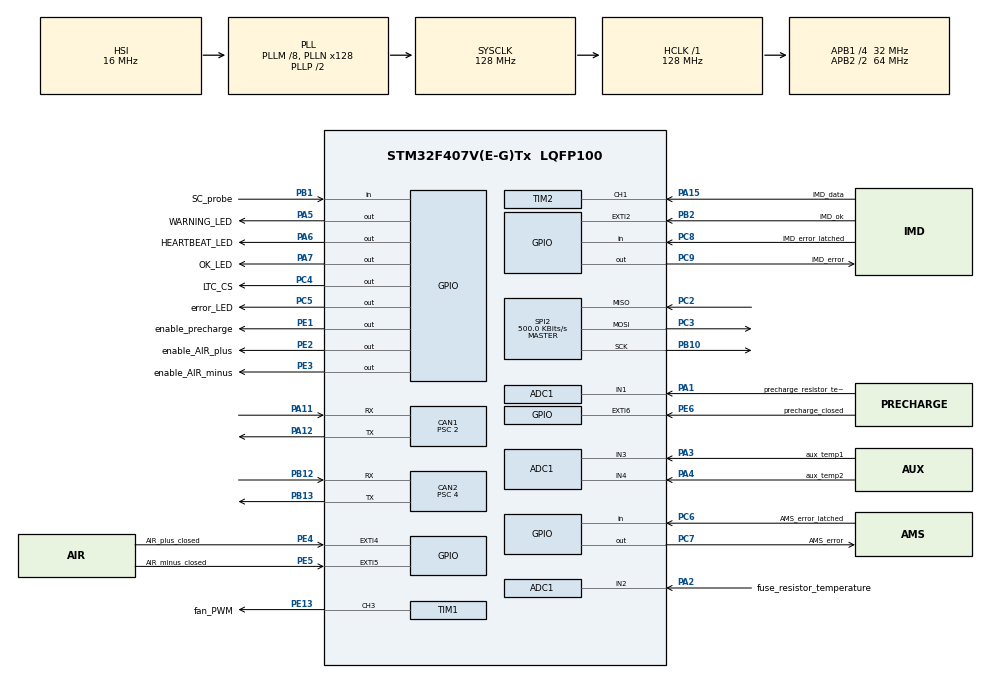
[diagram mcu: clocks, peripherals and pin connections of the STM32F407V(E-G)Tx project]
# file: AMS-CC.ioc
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ADC1.Channel-0\#ChannelRegularConversion=ADC_CHANNEL_1
ADC1.Channel-5\#ChannelRegularConversion=ADC_CHANNEL_2
ADC1.Channel-6\#ChannelRegularConversion=ADC_CHANNEL_3
ADC1.Channel-7\#ChannelRegularConversion=ADC_CHANNEL_4
ADC1.ContinuousConvMode=DISABLE
ADC1.DMAContinuousRequests=ENABLE
ADC1.DiscontinuousConvMode=DISABLE
ADC1.EOCSelection=ADC_EOC_SINGLE_CONV
ADC1.ExternalTrigConv=ADC_EXTERNALTRIGCONV_T3_TRGO
ADC1.NbrOfConversion=4
ADC1.NbrOfConversionFlag=1
ADC1.Rank-5\#ChannelRegularConversion=2
ADC1.Rank-6\#ChannelRegularConversion=3
ADC1.Rank-7\#ChannelRegularConversion=4
ADC1.SamplingTime-0\#ChannelRegularConversion=ADC_SAMPLETIME_28CYCLES
ADC1.SamplingTime-5\#ChannelRegularConversion=ADC_SAMPLETIME_28CYCLES
ADC1.SamplingTime-6\#ChannelRegularConversion=ADC_SAMPLETIME_28CYCLES
ADC1.SamplingTime-7\#ChannelRegularConversion=ADC_SAMPLETIME_28CYCLES
ADC1.master=1
CAN1.BS1=CAN_BS1_13TQ
CAN1.BS2=CAN_BS2_2TQ
CAN1.CalculateBaudRate=1000000
CAN1.CalculateTimeBit=1000
CAN1.CalculateTimeQuantum=62.5
CAN1.Mode=CAN_MODE_NORMAL
CAN1.Prescaler=2
CAN2.BS1=CAN_BS1_13TQ
CAN2.BS2=CAN_BS2_2TQ
CAN2.CalculateBaudRate=500000
CAN2.CalculateTimeBit=2000
CAN2.CalculateTimeQuantum=125.0
CAN2.Mode=CAN_MODE_NORMAL
CAN2.Prescaler=4
Dma.ADC1.0.Direction=DMA_PERIPH_TO_MEMORY
Dma.ADC1.0.FIFOMode=DMA_FIFOMODE_DISABLE
Dma.ADC1.0.Instance=DMA2_Stream0
Dma.ADC1.0.MemDataAlignment=DMA_MDATAALIGN_HALFWORD
Dma.ADC1.0.MemInc=DMA_MINC_ENABLE
Dma.ADC1.0.Mode=DMA_CIRCULAR
Dma.ADC1.0.PeriphDataAlignment=DMA_PDATAALIGN_HALFWORD
Dma.ADC1.0.PeriphInc=DMA_PINC_DISABLE
Dma.ADC1.0.Priority=DMA_PRIORITY_HIGH
Dma.Request0=ADC1
FREERTOS.Tasks01=standard,24,128,start_standard_task,Default,NULL,Dynamic,NULL,NULL
FREERTOS.configENABLE_FPU=1
FREERTOS.configMAX_TASK_NAME_LEN=32
FREERTOS.configMINIMAL_STACK_SIZE=128
FREERTOS.configTOTAL_HEAP_SIZE=100000
FREERTOS.configUSE_NEWLIB_REENTRANT=1
IWDG.Prescaler=IWDG_PRESCALER_8
IWDG.Reload=399
Mcu.Family=STM32F4
Mcu.Name=STM32F407V(E-G)Tx
Mcu.Package=LQFP100
NVIC.ADC_IRQn=true\:5\:0\:false\:false\:true\:true\:true\:true
NVIC.CAN1_RX0_IRQn=true\:5\:0\:false\:false\:true\:true\:true\:true
NVIC.CAN1_RX1_IRQn=true\:5\:0\:false\:false\:true\:true\:true\:true
NVIC.CAN1_TX_IRQn=true\:5\:0\:false\:false\:true\:true\:true\:true
NVIC.CAN2_RX0_IRQn=true\:5\:0\:false\:false\:true\:true\:true\:true
NVIC.CAN2_RX1_IRQn=true\:5\:0\:false\:false\:true\:true\:true\:true
NVIC.CAN2_TX_IRQn=true\:5\:0\:false\:false\:true\:true\:true\:true
NVIC.DMA2_Stream0_IRQn=true\:5\:0\:false\:false\:true\:true\:false\:true
NVIC.EXTI4_IRQn=true\:5\:0\:false\:false\:true\:true\:true\:true
NVIC.EXTI9_5_IRQn=true\:5\:0\:false\:false\:true\:true\:true\:true
NVIC.PriorityGroup=NVIC_PRIORITYGROUP_4
NVIC.TIM2_IRQn=true\:5\:0\:false\:false\:true\:true\:true\:true
NVIC.TIM3_IRQn=true\:5\:0\:false\:false\:true\:true\:true\:true
NVIC.TIM5_IRQn=true\:15\:0\:false\:false\:true\:false\:false\:true
NVIC.TimeBase=TIM5_IRQn
NVIC.TimeBaseIP=TIM5
PA1.GPIO_Label=precharge_resistor_temperature
PA1.GPIO_Mode=GPIO_MODE_ANALOG
PA1.GPIO_PuPd=GPIO_NOPULL
PA1.Signal=ADCx_IN1
PA11.Mode=CAN_Activate
PA11.Signal=CAN1_RX
PA12.Mode=CAN_Activate
PA12.Signal=CAN1_TX
PA15.GPIO_Label=IMD_data
PA15.Signal=S_TIM2_CH1_ETR
PA2.GPIO_Label=fuse_resistor_temperature
PA2.GPIO_Mode=GPIO_MODE_ANALOG
PA2.GPIO_PuPd=GPIO_NOPULL
PA2.Signal=ADCx_IN2
PA3.GPIO_Label=aux_temp1
PA3.GPIO_Mode=GPIO_MODE_ANALOG
PA3.GPIO_PuPd=GPIO_NOPULL
PA3.Signal=ADCx_IN3
PA4.GPIO_Label=aux_temp2
PA4.GPIO_Mode=GPIO_MODE_ANALOG
PA4.GPIO_PuPd=GPIO_NOPULL
PA4.Signal=ADCx_IN4
PA5.GPIO_Label=WARNING_LED
PA5.Signal=GPIO_Output
PA6.GPIO_Label=HEARTBEAT_LED
PA6.Signal=GPIO_Output
PA7.GPIO_Label=OK_LED
PA7.Signal=GPIO_Output
PB1.GPIO_Label=SC_probe
PB1.Signal=GPIO_Input
PB10.Mode=Full_Duplex_Master
PB10.Signal=SPI2_SCK
PB12.Mode=CAN_Activate
PB12.Signal=CAN2_RX
PB13.Mode=CAN_Activate
PB13.Signal=CAN2_TX
PB2.GPIO_Label=IMD_ok
PB2.GPIO_ModeDefaultEXTI=GPIO_MODE_IT_FALLING
PB2.Signal=GPXTI2
PC2.Mode=Full_Duplex_Master
PC2.Signal=SPI2_MISO
PC3.Mode=Full_Duplex_Master
PC3.Signal=SPI2_MOSI
PC4.GPIO_Label=LTC_CS
PC4.Signal=GPIO_Output
PC5.GPIO_Label=error_LED
PC5.Signal=GPIO_Output
PC6.GPIO_Label=AMS_error_latched
PC6.Signal=GPIO_Input
PC7.GPIO_Label=AMS_error
PC7.Signal=GPIO_Output
PC8.GPIO_Label=IMD_error_latched
PC8.Signal=GPIO_Input
PC9.GPIO_Label=IMD_error
PC9.Signal=GPIO_Output
PE1.GPIO_Label=enable_precharge
PE1.Signal=GPIO_Output
PE13.GPIO_Label=fan_PWM
PE13.Signal=S_TIM1_CH3
PE2.GPIO_Label=enable_AIR_plus
PE2.Signal=GPIO_Output
PE3.GPIO_Label=enable_AIR_minus
PE3.Signal=GPIO_Output
PE4.GPIO_Label=AIR_plus_closed
PE4.GPIO_ModeDefaultEXTI=GPIO_MODE_IT_RISING_FALLING
PE4.Signal=GPXTI4
PE5.GPIO_Label=AIR_minus_closed
PE5.GPIO_ModeDefaultEXTI=GPIO_MODE_IT_RISING_FALLING
PE5.Signal=GPXTI5
PE6.GPIO_Label=precharge_closed
PE6.GPIO_ModeDefaultEXTI=GPIO_MODE_IT_RISING_FALLING
PE6.Signal=GPXTI6
ProjectManager.HeapSize=0x200
ProjectManager.StackSize=0x400
ProjectManager.TargetToolchain=STM32CubeIDE
RCC.48MHZClocksFreq_Value=64000000
RCC.AHBFreq_Value=128000000
RCC.APB1CLKDivider=RCC_HCLK_DIV4
RCC.APB1Freq_Value=32000000
RCC.APB1TimFreq_Value=64000000
RCC.APB2CLKDivider=RCC_HCLK_DIV2
RCC.APB2Freq_Value=64000000
RCC.APB2TimFreq_Value=128000000
RCC.CortexFreq_Value=128000000
RCC.HCLKFreq_Value=128000000
RCC.HSE_VALUE=25000000
RCC.HSI_VALUE=16000000
RCC.LSE_VALUE=32768
RCC.PLLM=8
RCC.PLLN=128
RCC.SYSCLKFreq_VALUE=128000000
RCC.SYSCLKSource=RCC_SYSCLKSOURCE_PLLCLK
RCC.VCOOutputFreq_Value=256000000
SH.ADCx_IN1.0=ADC1_IN1,IN1
SH.ADCx_IN2.0=ADC1_IN2,IN2
SH.ADCx_IN3.0=ADC1_IN3,IN3
SH.ADCx_IN4.0=ADC1_IN4,IN4
SH.S_TIM1_CH3.0=TIM1_CH3,PWM Generation3 CH3
SH.S_TIM2_CH1_ETR.0=TIM2_CH1,PWM_Input_1
SPI2.BaudRatePrescaler=SPI_BAUDRATEPRESCALER_64
SPI2.CRCCalculation=SPI_CRCCALCULATION_DISABLE
SPI2.CalculateBaudRate=500.0 KBits/s
SPI2.Direction=SPI_DIRECTION_2LINES
SPI2.Mode=SPI_MODE_MASTER
SPI2.VirtualType=VM_MASTER
STMicroelectronics.X-CUBE-ALGOBUILD.1.3.0.LibraryCcDSPOoLibraryJjDSPOoLibrary=true
TIM1.Channel-PWM\ Generation3\ CH3=TIM_CHANNEL_3
TIM2.TIM_MasterOutputTrigger=TIM_TRGO_RESET
TIM3.TIM_MasterOutputTrigger=TIM_TRGO_UPDATE
VP_FREERTOS_VS_CMSIS_V2.Mode=CMSIS_V2
VP_IWDG_VS_IWDG.Mode=IWDG_Activate
VP_STMicroelectronics.X-CUBE-ALGOBUILD_VS_DSPOoLibraryJjLibrary_1.3.0_1.3.0.Mode=DSPOoLibraryJjLibrary
VP_SYS_VS_tim5.Mode=TIM5
VP_TIM1_VS_ClockSourceINT.Mode=Internal
VP_TIM2_VS_ClockSourceINT.Mode=Internal
VP_TIM3_VS_ClockSourceINT.Mode=Internal
board=custom

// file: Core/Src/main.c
/* USER CODE BEGIN Header */
/**
 ******************************************************************************
 * @file           : main.c
 * @brief          : Main program body
 ******************************************************************************
 * @attention
 *
 * Copyright (c) 2022 STMicroelectronics.
 * All rights reserved.
 *
 * This software is licensed under terms that can be found in the LICENSE file
 * in the root directory of this software component.
 * If no LICENSE file comes with this software, it is provided AS-IS.
 *
 ******************************************************************************
 */
/* USER CODE END Header */
#include "main.h"
#include "cmsis_os.h"
#include "adc.h"
#include "can.h"
#include "dma.h"
#include "iwdg.h"
#include "spi.h"
#include "tim.h"
#include "gpio.h"

/* USER CODE BEGIN Includes */
#include "queue.h"
#include "stdlib.h"

#include "SEGGER_SYSVIEW.h"

#include "programme_tasks.h"
#include "programme_queues.h"
#include "programme_data.h"
#include "programme_functions.h"

#include "COM.h"
#include "PID.h"
#include "FAN.h"
#include "IMD.h"
#include "CSE.h"
#include "LTC.h"
#include "queue.h"
#include "SIM0.h"
#include "smile_data.h"
#include "smile_callbacks.h"
#include "smile.h"
#include "canlib_data.h"
#include "canlib_callbacks.h"
#include "canlib.h"

#define ARM_MATH_CM4
#include "arm_math.h"
/* USER CODE END Includes */

void SystemClock_Config(void);
void MX_FREERTOS_Init(void);

/* USER CODE BEGIN 0 */

const task_info SM_task_info = { { .name = "SM_task", .stack_size = 1024 * 4,
		.priority = (osPriority_t) osPriorityBelowNormal, }, .periodicity = 0.1,
		.offset = 0 * 0.000, .execution_time = 0.010, };

const task_info COOL_task_info = { { .name = "COOL_task", .stack_size = 160 * 4,
		.priority = (osPriority_t) osPriorityNormal5, }, .periodicity = 0.1,
		.offset = 0 * 0.220, .execution_time = 0.001, };

const task_info CSE_task_info = { { .name = "CSE_task", .stack_size = 1024 * 4,
		.priority = (osPriority_t) osPriorityNormal4, }, .periodicity = 0.1,
		.offset = 0 * 0.170, .execution_time = 0.035, };

const task_info CAN_task_info = { { .name = "CAN_task", .stack_size = 512 * 4,
		.priority = (osPriority_t) osPriorityNormal3, }, .periodicity = 0.1,
		.offset = 0 * 0.140, .execution_time = 0.020, };

const task_info COM_task_info = { { .name = "COM_task", .stack_size = 2048 * 4,
		.priority = (osPriority_t) osPriorityNormal2, }, .periodicity = 0.1,
		.offset = 0 * 0.060, .execution_time = 0.040, };

const task_info SIM_task_info = { { .name = "SIM_task", .stack_size = 3000 * 4,
		.priority = (osPriority_t) osPriorityNormal1, }, .periodicity = 0.1,
		.offset = 0 * 0.230, .execution_time = 0.1, };

const task_info error_handler_task_info = { { .name = "error_handler_task",
		.stack_size = 128 * 4, .priority = (osPriority_t) osPriorityLow1, },
		.periodicity = 0.1, .offset = 5, .execution_time = 0.001, };

const task_info IWDG_task_info = { { .name = "IWDG_task", .stack_size = 160 * 4,
		.priority = (osPriority_t) osPriorityLow, }, .periodicity = 0.1,
		.offset = 0 * 0.010, .execution_time = 0.001, };

const queue_info IMD_queue_info = { .element_count = 1, .element_size =
		sizeof(IMD_t), };

const queue_info temperatures_queue_info = { .element_count = 1, .element_size =
		sizeof(temperatures_t), };

const queue_info charger_queue_info = { .element_count = 1, .element_size =
		sizeof(charger_t), };

const queue_info accumulator_current_queue_info = { .element_count = 1,
		.element_size = sizeof(double), };

const queue_info accumulator_voltage_queue_info = { .element_count = 1,
		.element_size = sizeof(double), };

const queue_info vehicle_voltage_queue_info = { .element_count = 1,
		.element_size = sizeof(double), };

const queue_info cell_voltages_queue_info = { .element_count = 1,
		.element_size = sizeof(double*), };

const queue_info cell_temperatures_queue_info = { .element_count = 1,
		.element_size = sizeof(double*), };

const queue_info start_drive_queue_info = { .element_count = 1, .element_size =
		sizeof(uint8_t), };

const queue_info start_charge_queue_info = { .element_count = 1, .element_size =
		sizeof(uint8_t), };

const queue_info start_balance_queue_info = { .element_count = 1,
		.element_size = sizeof(uint8_t), };

const queue_info state_queue_info = { .element_count = 1, .element_size =
		sizeof(ams_state_t), };

const queue_info error_queue_info = { .element_count = 1, .element_size =
		sizeof(error_t), };

int main() {
	/* INSTRUMENTATE */
	SEGGER_SYSVIEW_Conf();

	/* RESET PERIPHERALS, ETC. */
	HAL_Init();

	/* CONFIGURE SYSTEM CLOCK */
	SystemClock_Config();

	/* INITIALZE PERIPHERALS */
	MX_GPIO_Init();
	MX_SPI2_Init();
	MX_CAN1_Init();
	MX_CAN2_Init();
	MX_TIM1_Init();
	MX_DMA_Init();
	MX_ADC1_Init();
	MX_TIM3_Init();
	MX_TIM2_Init();

	initialize_CAN(&hcan1, &hcan2);
	initialize_LTC(&hspi2);

	/* Initialize kernel */
	osKernelInitialize();

	/* INITIALIZE QUEUES */

	temperatures_queue = xQueueCreate(temperatures_queue_info.element_count,
			temperatures_queue_info.element_size);

	accumulator_voltage_queue = xQueueCreate(
			accumulator_voltage_queue_info.element_count,
			accumulator_voltage_queue_info.element_size);

	vehicle_voltage_queue = xQueueCreate(
			vehicle_voltage_queue_info.element_count,
			vehicle_voltage_queue_info.element_size);

	accumulator_current_queue = xQueueCreate(
			accumulator_current_queue_info.element_count,
			accumulator_current_queue_info.element_size);

	cell_voltages_queue = xQueueCreate(cell_voltages_queue_info.element_count,
			cell_voltages_queue_info.element_size);

	cell_temperatures_queue = xQueueCreate(
			cell_temperatures_queue_info.element_count,
			cell_temperatures_queue_info.element_size);

	start_drive_queue = xQueueCreate(start_drive_queue_info.element_count,
			start_drive_queue_info.element_size);

	start_charge_queue = xQueueCreate(start_charge_queue_info.element_count,
			start_charge_queue_info.element_size);

	start_balance_queue = xQueueCreate(start_balance_queue_info.element_count,
			start_balance_queue_info.element_size);

	state_queue = xQueueCreate(state_queue_info.element_count,
			state_queue_info.element_size);

	error_queue = xQueueCreate(error_queue_info.element_count,
			error_queue_info.element_size);

	/* INITIALIZE TASKS */

	first_tick = 0.25 * TICK2HZ + osKernelGetTickCount(); // Wait for segger, etc

	SM_task_handle = osThreadNew(start_SM_task, NULL, &SM_task_info.attributes);

#ifdef SIMULATION
	SIM_task_handle = osThreadNew(start_SIM_task, NULL,
			&SIM_task_info.attributes);
#endif

	CSE_task_handle = osThreadNew(start_CSE_task, NULL,
			&CSE_task_info.attributes);

	COOL_task_handle = osThreadNew(start_COOL_task, NULL,
			&COOL_task_info.attributes);

	CAN_task_handle = osThreadNew(start_CAN_task, NULL,
			&CAN_task_info.attributes);

	COM_task_handle = osThreadNew(start_COM_task, NULL,
			&COM_task_info.attributes);

	IWDG_task_handle = osThreadNew(start_IWDG_task, NULL,
			&IWDG_task_info.attributes);

	error_handler_task_handle = osThreadNew(start_error_handler_task, NULL,
			&error_handler_task_info.attributes);

	/* Launch RTOS ! */
	osKernelStart();

	for (;;)
		;
}

/* USER CODE END 0 */

void SystemClock_Config(void) {
	RCC_OscInitTypeDef RCC_OscInitStruct = { 0 };
	RCC_ClkInitTypeDef RCC_ClkInitStruct = { 0 };

	/** Configure the main internal regulator output voltage
	 */
	__HAL_RCC_PWR_CLK_ENABLE();
	__HAL_PWR_VOLTAGESCALING_CONFIG(PWR_REGULATOR_VOLTAGE_SCALE1);
	/** Initializes the RCC Oscillators according to the specified parameters
	 * in the RCC_OscInitTypeDef structure.
	 */
	RCC_OscInitStruct.OscillatorType = RCC_OSCILLATORTYPE_HSI
			| RCC_OSCILLATORTYPE_LSI;
	RCC_OscInitStruct.HSIState = RCC_HSI_ON;
	RCC_OscInitStruct.HSICalibrationValue = RCC_HSICALIBRATION_DEFAULT;
	RCC_OscInitStruct.LSIState = RCC_LSI_ON;
	RCC_OscInitStruct.PLL.PLLState = RCC_PLL_ON;
	RCC_OscInitStruct.PLL.PLLSource = RCC_PLLSOURCE_HSI;
	RCC_OscInitStruct.PLL.PLLM = 8;
	RCC_OscInitStruct.PLL.PLLN = 128;
	RCC_OscInitStruct.PLL.PLLP = RCC_PLLP_DIV2;
	RCC_OscInitStruct.PLL.PLLQ = 4;
	if (HAL_RCC_OscConfig(&RCC_OscInitStruct) != HAL_OK) {
		Error_Handler();
	}
	/** Initializes the CPU, AHB and APB buses clocks
	 */
	RCC_ClkInitStruct.ClockType = RCC_CLOCKTYPE_HCLK | RCC_CLOCKTYPE_SYSCLK
			| RCC_CLOCKTYPE_PCLK1 | RCC_CLOCKTYPE_PCLK2;
	RCC_ClkInitStruct.SYSCLKSource = RCC_SYSCLKSOURCE_PLLCLK;
	RCC_ClkInitStruct.AHBCLKDivider = RCC_SYSCLK_DIV1;
	RCC_ClkInitStruct.APB1CLKDivider = RCC_HCLK_DIV4;
	RCC_ClkInitStruct.APB2CLKDivider = RCC_HCLK_DIV2;

	if (HAL_RCC_ClockConfig(&RCC_ClkInitStruct, FLASH_LATENCY_4) != HAL_OK) {
		Error_Handler();
	}
}

/* USER CODE BEGIN 4 */

#define WAIT_FOR_CELL_VOLTAGES			0x0001
#define WAIT_FOR_CELL_TEMPERATURES		0x0002
#define WAIT_FOR_ACCUMULATOR_VOLTAGE	0x0004
#define WAIT_FOR_ACCUMULATOR_CURRENT	0x0008
#define WAIT_FOR_VEHICLE_VOLTAGE		0x0010
#define WAIT_FOR_ALL 					0x001F

void __wait_for_data(uint16_t FLAGS) {
	uint8_t NOT_OK = FLAGS;

	double _d;
	double *_dptr;
	uint8_t _u8;
	while (NOT_OK) {
		osDelay(2.00 * TICK2HZ);
		if (FLAGS & WAIT_FOR_CELL_VOLTAGES) {
			if (xQueuePeek(cell_voltages_queue, &_dptr, 0)) {
				NOT_OK &= ~WAIT_FOR_CELL_VOLTAGES;
			}
		}
		if (FLAGS & WAIT_FOR_CELL_TEMPERATURES) {
			if (xQueuePeek(cell_temperatures_queue, &_dptr, 0)) {
				NOT_OK &= ~WAIT_FOR_CELL_TEMPERATURES;
			}
		}
		if (FLAGS & WAIT_FOR_ACCUMULATOR_CURRENT) {
			if (xQueuePeek(accumulator_current_queue, &_d, 0)) {
				NOT_OK &= ~WAIT_FOR_ACCUMULATOR_CURRENT;
			}
		}
		if (FLAGS & WAIT_FOR_ACCUMULATOR_VOLTAGE) {
			if (xQueuePeek(accumulator_voltage_queue, &_d, 0)) {
				NOT_OK &= ~WAIT_FOR_ACCUMULATOR_VOLTAGE;
			}
		}
		if (FLAGS & WAIT_FOR_VEHICLE_VOLTAGE) {
			if (xQueuePeek(vehicle_voltage_queue, &_d, 0)) {
				NOT_OK &= ~WAIT_FOR_VEHICLE_VOLTAGE;
			}
		}
	}
}

void __raise_ams_error(error_t error) {
	set_ams_error_ext(1);
	__error = error;
#ifdef STREAM_DATA
	SEGGER_SYSVIEW_PrintfHost("error %i", error);
#endif
	xQueueOverwrite(error_queue, &error);
}

void __raise_ams_error_isr(error_t error) {
	set_ams_error_ext(1);
	__error = error;
#ifdef STREAM_DATA
	SEGGER_SYSVIEW_PrintfHost("error %i", error);
#endif

	BaseType_t xHigherPriorityTaskWoken = pdFALSE;
	xQueueOverwriteFromISR(error_queue, &error,
			&xHigherPriorityTaskWoken);
	portEND_SWITCHING_ISR(xHigherPriorityTaskWoken);
}

void __raise_imd_error(error_t error) {
	set_imd_error_ext(1);
	__error = error;
#ifdef STREAM_DATA
	SEGGER_SYSVIEW_PrintfHost("error %i", error);
#endif
	xQueueOverwrite(error_queue, &error);
}

void __raise_imd_error_isr(error_t error) {
	set_imd_error_ext(1);
	__error = error;
#ifdef STREAM_DATA
	SEGGER_SYSVIEW_PrintfHost("error %i", error);
#endif

	BaseType_t xHigherPriorityTaskWoken = pdFALSE;
	xQueueOverwriteFromISR(error_queue, &error,
			&xHigherPriorityTaskWoken);
	portEND_SWITCHING_ISR(xHigherPriorityTaskWoken);
}

/* ENTER TASKS */
void start_SM_task(void *argument) {
	SEGGER_SYSVIEW_Start();

	/* Set up task-specific timing parameters */
	uint32_t next_tick = first_tick;
	uint32_t tick_increment = TICK2HZ * SM_task_info.periodicity;

	/* Make task-specific structures */
	ams_inputs.Ts = SM_task_info.periodicity;
	double *cell_voltages;
	double minimum;
	double mean;
	double variance;
	double maximum;

	initialize_TEM(&htim3); // This has to be inside a task
	initialize_IMD(&htim2); // This has to be inside a task

	/* Wait until offset */
	next_tick += TICK2HZ * SM_task_info.offset;
	osDelayUntil(next_tick);

	__wait_for_data(WAIT_FOR_ALL);

	for (;;) {
		/* Enter periodic behaviour */
		/* Receive every piece of data which is required to propagate the state machine */
		if (0x1 && xQueuePeek(cell_voltages_queue, &cell_voltages, 0)
				&& xQueuePeek(accumulator_current_queue,
						&ams_inputs.accumulator_current, 0)
				&& xQueuePeek(accumulator_voltage_queue,
						&ams_inputs.accumulator_voltage, 0)
				&& xQueuePeek(vehicle_voltage_queue,
						&ams_inputs.vehicle_voltage, 0)) {

			/* Calculate mean, maximum and variance of cell voltages */
			{
				mean = 0;
				variance = 0;
				maximum = cell_voltages[0];
				minimum = cell_voltages[0];
				for (int i = 0; i < 126; i++) {
					mean += cell_voltages[i];
					if (cell_voltages[i] > maximum) {
						maximum = cell_voltages[i];
					}
					if (cell_voltages[i] < minimum) {
						minimum = cell_voltages[i];
					}
				}
				mean /= 126;
				for (int i = 0; i < 126; i++) {
					double svar = cell_voltages[i] - mean;
					variance += svar * svar;
				}
			}

			/* Set the rest of the state machine inputs */
			ams_inputs.cell_voltages_variance = variance;
			ams_inputs.maximum_cell_voltage = maximum;
			ams_inputs.minimum_cell_voltage = minimum;
			ams_inputs.charger_is_awake = 1;
			ams_inputs.ams_error = get_ams_error_latched_ext();
			ams_inputs.imd_error = get_imd_error_latched_ext();
			ams_inputs.air_minus_closed = get_air_minus_ext();
			ams_inputs.air_plus_closed = get_air_plus_ext();
			ams_inputs.precharge_closed = get_precharge_ext();
			ams_inputs.SC = get_sc_probe_ext();

			/* Try to get the trigger signals */
			xQueueReceive(start_drive_queue, &ams_inputs.drive, 0);
			xQueueReceive(start_charge_queue, &ams_inputs.charge, 0);
			xQueueReceive(start_balance_queue, &ams_inputs.balance, 0);

			ams_state_t state = ams_function(); // _step

#ifdef STREAM_DATA
			SEGGER_SYSVIEW_PrintfHost("state %i", state);
#endif
			xQueueOverwrite(state_queue, &state);
		} else {
			__raise_ams_error(ERROR_AMS);
		}

		/* If any error was produced by the state machine (1xx), then raise them */
		if (ams_outputs.error) {
			__raise_ams_error((error_t) ams_outputs.error);
		}

		charger.charger_current_limit = 6.6 * 2; 		// 2 * C
		charger.charger_voltage_limit = 4.15 * 126;	// sought cell voltage times count of cells
		charger.enable_charger = ams_outputs.enable_charger;

		set_air_minus_ext(ams_outputs.close_air_minus);
		set_air_plus_ext(ams_outputs.close_air_plus);
		set_precharge_ext(ams_outputs.close_precharge);

		/* Wait until next period */
		next_tick += tick_increment;
		osDelayUntil(next_tick);
	}
}

void start_COM_task(void *argument) {
	/* Set up task-specific timing parameters */
	uint32_t next_tick = first_tick;
	uint32_t tick_increment = TICK2HZ * COM_task_info.periodicity;

	/* Make task-specific structures */
	double *cell_voltages;
	double *cell_temperatures;
	double accumulator_current;
	error_t cell_voltages_error;
	error_t cell_temperatures_error;
	error_t accumulator_current_error;
	uint8_t cell_data_valid;
	uint8_t accumulator_current_valid;

#ifdef STREAM_DATA
	uint8_t __k = 0;
#endif

	const float voltage_time_constraint = 0.5;
	const float temperature_time_constraint = 1.0;
	const float current_time_constraint = 0.5;

	uint16_t voltage_sample_constraint = 1
			+ (voltage_time_constraint / COM_task_info.periodicity);

	uint16_t temperature_sample_constraint = 1
			+ (temperature_time_constraint / COM_task_info.periodicity);

	uint16_t current_sample_constraint = 1
			+ (current_time_constraint / COM_task_info.periodicity);

	/* Wait until offset */
	next_tick += TICK2HZ * COM_task_info.offset;
	osDelayUntil(next_tick);

	__wait_for_data(WAIT_FOR_ACCUMULATOR_CURRENT);

	for (;;) {
		/* Enter periodic behaviour */

		accumulator_current_valid = xQueuePeek(accumulator_current_queue,
				&accumulator_current, 0);

		/* Get new data over isoSPI */
		cell_data_valid = LTC_acquire_data(1);

		/* Get data from the program */
#ifdef SIMULATION
		cell_voltages = SIM0_Y.cell_voltages;
		cell_temperatures = SIM0_Y.cell_temperatures;
		cell_data_valid = 1;
#else
		cell_voltages = LTC_voltages;
		cell_temperatures = LTC_temperatures;
#endif

		/* If new cell data is available, supply the system with it */
		if (cell_data_valid) {
			xQueueOverwrite(cell_voltages_queue, &cell_voltages);
			xQueueOverwrite(cell_temperatures_queue, &cell_temperatures);
		} else {
			__raise_ams_error(ERROR_NO_LTC_DATA);
		}

		/* Raise an error if cell voltage time constraints are not met,
		 * or if there is no data being received */
		cell_voltages_error = COM_voltages_ok(cell_voltages,
				voltage_sample_constraint);

		if (cell_voltages_error) {
			__raise_ams_error(cell_voltages_error);
		}

		/* Raise an error if cell temperature time constraints are not met,
		 * or if there is no data being received */
		cell_temperatures_error = COM_temperatures_ok(cell_temperatures,
				!temperature_sample_constraint);

		if (cell_temperatures_error) {
			__raise_ams_error(cell_temperatures_error);
		}

		/* If no new accumulator current was gathered, raise an error */
		if (!accumulator_current_valid) {
			__raise_ams_error(ERROR_NO_CURRENT_DATA);
		}

		/* Raise an error if accumulator current time constraints are not met,
		 * or if there is no data being received */
		accumulator_current_error = COM_current_ok(&accumulator_current,
				current_sample_constraint);

		if (accumulator_current_error) {
			__raise_ams_error(accumulator_current_error);
		}

#ifdef STREAM_DATA
		SEGGER_SYSVIEW_PrintfHost("cell_voltages %i %i %i %i %i %i %i %i", __k,
				(uint16_t) (10000 * cell_voltages[__k]),
				(uint16_t) (10000 * cell_voltages[__k + 1]),
				(uint16_t) (10000 * cell_voltages[__k + 2]),
				(uint16_t) (10000 * cell_voltages[__k + 3]),
				(uint16_t) (10000 * cell_voltages[__k + 4]),
				(uint16_t) (10000 * cell_voltages[__k + 5]),
				(uint16_t) (10000 * cell_voltages[__k + 6]));
		__k = (__k + 7) % 126;
#endif

		/* Wait until next period */
		while (next_tick < osKernelGetTickCount()) {
			next_tick += tick_increment;
		}
		osDelayUntil(next_tick);
	}
}

void start_CAN_task(void *argument) {
	/* Set up task-specific timing parameters */
	uint32_t next_tick = first_tick;
	uint32_t tick_increment = TICK2HZ * CAN_task_info.periodicity;

	/* Make task-specific structures */
	uint32_t k = 0;

	/* Wait until offset */
	next_tick += TICK2HZ * CAN_task_info.offset;
	osDelayUntil(next_tick);

	for (;;) {
		/* Enter periodic behaviour */
		if (!(k % 2)) {
			can1_ams_status_1_transmit();
		}
		if (!(k % 2)) {
			can1_ams_temperatures_transmit();
		}
		if (!(k % 3)) {
			can2_charger_config_transmit();
		}
		if (!(k % 4)) {
			can1_ams_cell_temperatures_transmit();
			can1_ams_cell_voltages_transmit();
		}
		k++;
		/* Wait until next period */
		while (next_tick < osKernelGetTickCount()) {
			next_tick += tick_increment;
		}
		osDelayUntil(next_tick);
	}
}

void start_CSE_task(void *argument) {
	/* Set up task-specific timing parameters */
	uint32_t next_tick = first_tick;
	uint32_t tick_increment = TICK2HZ * CSE_task_info.periodicity;

	/* Make task-specific structures */
	CSE_initialize();
	double *cell_voltages;
	double accumulator_current;
	double mean_cell_voltage;

	/* Wait until offset */
	next_tick += TICK2HZ * CSE_task_info.offset;
	osDelayUntil(next_tick);

	__wait_for_data(WAIT_FOR_ALL);

	CSE_DW.x[1] = 0.40773275430377137 * 23840.700984295119;
	CSE_DW.x[2] = 23840.700984295119;

	for (;;) {
		/* Enter periodic behaviour */

		/* Collect cell voltages and accumulator current -- then calcualte SOC/SOH */
		if (xQueuePeek(accumulator_current_queue, &accumulator_current, 0)
				&& xQueuePeek(cell_voltages_queue, &cell_voltages, 0)) {
			/*
			 * Calculate the mean cell voltage -- if the periodicity is high enough
			 * one might calculate them all individually at some point (and/or do them interleaving)
			 */
			mean_cell_voltage = 0;
			for (int i = 0; i < 126; i++) {
				mean_cell_voltage += cell_voltages[i];
			}
			mean_cell_voltage /= 126;

			CSE_U.current = accumulator_current;
			CSE_U.y = mean_cell_voltage;
			CSE_step();

#ifdef STREAM_DATA
			int32_t int_soc = 1000 * CSE_Y.soc;
			int32_t int_cap = CSE_Y.capacity;
			SEGGER_SYSVIEW_PrintfHost("CSE %i %i", int_soc, int_cap);
#endif

		}

		/* Wait until next period */
		while (next_tick < osKernelGetTickCount()) {
			next_tick += tick_increment;
		}
		osDelayUntil(next_tick);
	}
}

void start_COOL_task(void *argument) {
	/* Set up task-specific timing parameters */
	uint32_t next_tick = first_tick;
	uint32_t tick_increment = TICK2HZ * COOL_task_info.periodicity;

	/* Make task-specific structures */
	PID_t PID;

	PID_initialize(&PID, // *ptr
			20,			// Reference temperature (sought)
			100 / 30, 	// Proportionate gain
			0,			// Integral gain
			0,			// Differential gain
			20,			// Lower PID output bound
			100			// Upper PID output bound
			);
	FAN_initialize(&htim1);

	double *cell_temperatures;
	double max_cell_temperature;

	/* Wait until offset */
	next_tick += TICK2HZ * COOL_task_info.offset;
	osDelayUntil(next_tick);

	__wait_for_data(WAIT_FOR_CELL_TEMPERATURES);

	for (;;) {
		/* Enter periodic behaviour */

		/* If the cell temperatures are received one may input them into the PID */
		if (xQueuePeek(cell_temperatures_queue, &cell_temperatures, 0)) {
			/* Calculate the maximum cell temperature */
			max_cell_temperature = 0;
			for (int i = 0; i < 126; i++) {
				max_cell_temperature += cell_temperatures[i];
			}
			max_cell_temperature /= 126;

			/* Progress the PID and set the fan duty cycle accordingly */
			PID_progress(&PID, max_cell_temperature);
			FAN_duty_cycle(&htim1, PID.output);

			pPID.duty_cycle = PID.output;
		}

		/* Wait until next period */
		while (next_tick < osKernelGetTickCount()) {
			next_tick += tick_increment;
		}
		osDelayUntil(next_tick);
	}
}

void start_error_handler_task(void *argument) {
	/* Set up task-specific timing parameters */
	uint32_t next_tick = first_tick;
	uint32_t tick_increment = TICK2HZ * IWDG_task_info.periodicity;

	/* Make task-specific structures */
	error_t error;

	/* Wait until offset */
	next_tick += TICK2HZ * IWDG_task_info.offset;
	osDelayUntil(next_tick);

	for (;;) {
		/* Enter periodic behaviour */
		/*
		 if (!get_imd_ok_ext()) {
		 __raise_imd_error(ERROR_IMD);
		 }
		 uint8_t get;
		 uint8_t set;

		 if (get_precharge_ext() != get_set_precharge_ext()) {
		 get = get_precharge_ext();
		 set = get_set_precharge_ext();

		 __raise_ams_error(ERROR_PRECHARGE);
		 }
		 if (get_air_minus_ext() != get_set_air_minus_ext()) {
		 __raise_ams_error(ERROR_AIR_MINUS);
		 }
		 if (get_air_plus_ext() != get_set_air_plus_ext()) {
		 __raise_ams_error(ERROR_AIR_PLUS);
		 }
		 */
		if (xQueueReceive(error_queue, &error, 0)) {
			switch (error) {
			case ERROR_IMD:
				set_imd_error_ext(1);
				break;
			default:
				set_ams_error_ext(1);
				break;
			}
		} else {
			set_ams_error_ext(0);
			set_imd_error_ext(0);
			if (!get_ams_error_latched_ext()) {
				__error = 0;
			}
		}

		/* Wait until next period */
		while (next_tick < osKernelGetTickCount()) {
			next_tick += tick_increment;
		}
		osDelayUntil(next_tick);
	}
}

void start_IWDG_task(void *argument) {
	/* Set up task-specific timing parameters */
	uint32_t next_tick = first_tick;
	uint32_t tick_increment = TICK2HZ * IWDG_task_info.periodicity;

	/* Make task-specific structures */

	/* Wait until offset */
	next_tick += TICK2HZ * IWDG_task_info.offset;
	osDelayUntil(next_tick);

	__wait_for_data(WAIT_FOR_ALL);

	//initialize_IWDG(&hiwdg, IWDG_task_info.periodicity);

	for (;;) {
		/* Enter periodic behaviour */
		HAL_IWDG_Refresh(&hiwdg);

		/* Wait until next period */
		while (next_tick < osKernelGetTickCount()) {
			next_tick += tick_increment;
		}
		osDelayUntil(next_tick);
	}
}

void start_SIM_task(void *argument) {
	/* Set up task-specific timing parameters */
	uint32_t next_tick = first_tick;
	uint32_t tick_increment = TICK2HZ * SIM_task_info.periodicity;

	/* Make task-specific structures */
	SIM0_initialize();
	uint16_t k = 0;

	uint8_t SC = 1;
	uint8_t start_drive = 1;
	uint8_t start_charge = 0;
	uint8_t start_balance = 0;

	SIM0_P.Ts = SIM_task_info.periodicity;
	SIM0_U.SC = SC;
	SIM0_U.drive = start_drive ^ start_balance;
	SIM0_U.charge = start_charge ^ start_balance;
	SIM0_U.drive_current = 0;

	for (int i = 0; i < 126; i++) {
		float m = fabsf(cos(i) + cos(i + 1) + cos(i + 2) + cos(i + 3)) / 4;
		SIM0_DW.Memory_PreviousInput[i] = SIM0_P.cQur[0] * (1 - 0.4 * m);
	}

	/* Wait until offset */
	next_tick += TICK2HZ * SIM_task_info.offset;
	osDelayUntil(next_tick);

	for (;;) {
		/* Enter periodic behaviour */

		double mean_soc = 0;
		double mean_cap = 0;
		for (int i = 0; i < 126; i++) {
			mean_soc += SIM0_Y.cell_socs[i];
			mean_cap += SIM0_Y.cell_capacities[i];
		}
		mean_soc /= 126;
		mean_cap /= 126;

		if (mean_soc < 0.4) {
			SIM0_U.drive_current = 15;
		}
		if (mean_soc > 0.7) {
			SIM0_U.drive_current = -15;
		}

#ifdef STREAM_DATA
		int32_t int_soc = 1000 * mean_soc;
		int32_t int_cap = mean_cap;
		SEGGER_SYSVIEW_PrintfHost("CST %i %i", int_soc, int_cap);
#endif

		SIM0_step();

		if ((k % 5) == 0) {
			can1_dbu_status_1_transmit();
		}
		if ((k % 5) == 1) {
			can2_cc_status_transmit();
		}
		if ((k % 5) == 2) {
			can2_ivt_msg_result_i_transmit();

		}
		if ((k % 5) == 3) {
			can2_ivt_msg_result_u1_transmit();

		}
		if ((k % 5) == 4) {
			can2_ivt_msg_result_u3_transmit();

		}
		k++;

		/* Wait until next period */
		while (next_tick < osKernelGetTickCount()) {
			next_tick += tick_increment;
		}
		osDelayUntil(next_tick);
	}
}

/* USER CODE END 4 */

void HAL_TIM_PeriodElapsedCallback(TIM_HandleTypeDef *htim) {
	if (htim->Instance == TIM5) {
		HAL_IncTick();
	}
}

void Error_Handler(void) {
	__disable_irq();
	while (1) {
	}
}

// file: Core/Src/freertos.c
/* USER CODE BEGIN Header */
/**
  ******************************************************************************
  * File Name          : freertos.c
  * Description        : Code for freertos applications
  ******************************************************************************
  * @attention
  *
  * Copyright (c) 2022 STMicroelectronics.
  * All rights reserved.
  *
  * This software is licensed under terms that can be found in the LICENSE file
  * in the root directory of this software component.
  * If no LICENSE file comes with this software, it is provided AS-IS.
  *
  ******************************************************************************
  */
/* USER CODE END Header */

#include "FreeRTOS.h"
#include "task.h"
#include "main.h"
#include "cmsis_os.h"

/* Definitions for standard */
osThreadId_t standardHandle;
const osThreadAttr_t standard_attributes = {
  .name = "standard",
  .stack_size = 128 * 4,
  .priority = (osPriority_t) osPriorityNormal,
};

void start_standard_task(void *argument);

void MX_FREERTOS_Init(void); /* (MISRA C 2004 rule 8.1) */

void MX_FREERTOS_Init(void) {

  /* Create the thread(s) */
  /* creation of standard */
  standardHandle = osThreadNew(start_standard_task, NULL, &standard_attributes);

}

void start_standard_task(void *argument)
{
}
